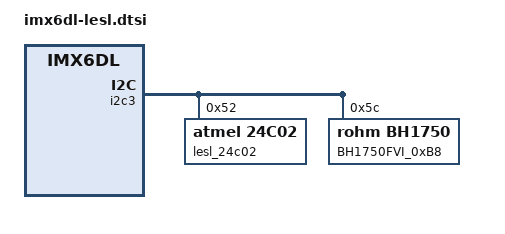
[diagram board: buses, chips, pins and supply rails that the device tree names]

/*
 * Copyright 2016 FLIR Systems.
 *
 * The code contained herein is licensed under the GNU General Public
 * License. You may obtain a copy of the GNU General Public License
 * Version 2 or later at the following locations:
 *
 * http://www.opensource.org/licenses/gpl-license.html
 * http://www.gnu.org/copyleft/gpl.html
 */



&i2c3 {
lesl_24c02: lesl_24c02@52 {
		compatible = "atmel,24c02";
		reg = <0x52>;
		pagesize = <16>;
	};

BH1750FVI_0xB8: ambientlightsensor@24 {
		//Ambient light sensor BH1750FVI_WSOF6I
		compatible = "rohm,bh1750";
		dvi-pin = <&leif_pca9534_0x42 5 GPIO_ACTIVE_LOW>;
		reg = <0x5c>;
		};
};

